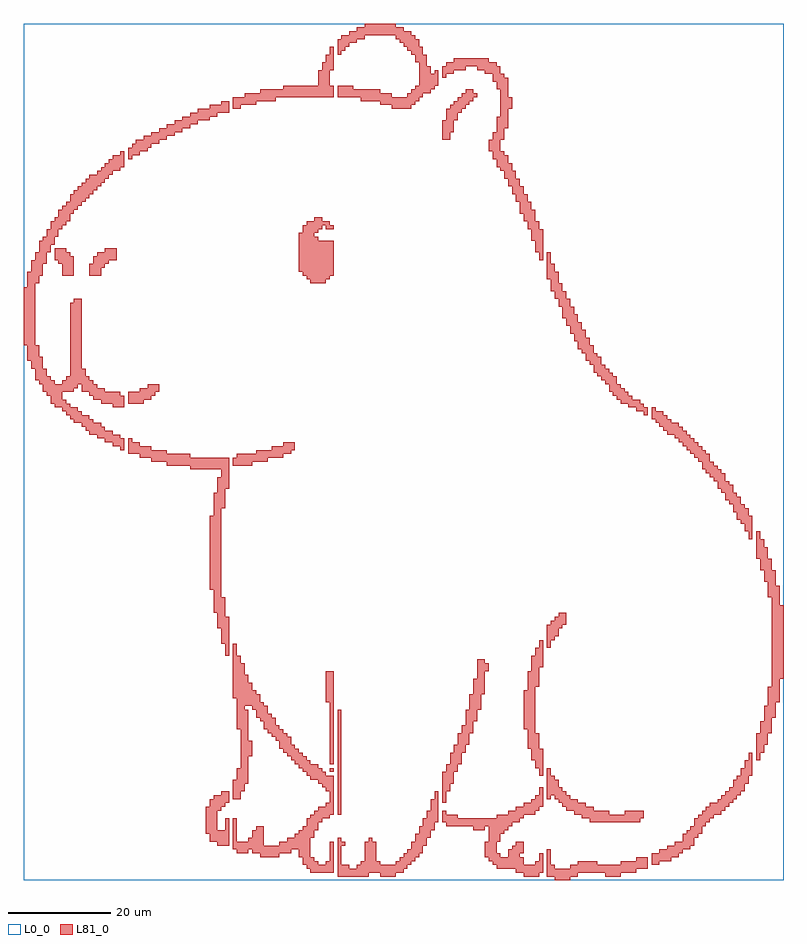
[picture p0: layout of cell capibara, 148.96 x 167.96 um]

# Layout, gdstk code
import gdstk
lib = gdstk.Library(unit=1e-6, precision=1e-09)
def R(c, l, rs):  # rectangles x0, y0, x1, y1
    for r in rs: c.add(gdstk.rectangle(r[:2], r[2:], *l))
def P(c, l, *ps):  # polygons
    for p in ps: c.add(gdstk.Polygon(p, *l))
L0_0 = (0, 0)
L81_0 = (81, 0)

capibara = lib.new_cell('capibara')
R(capibara, L0_0, [(0,0,148.96,167.96)])
R(capibara, L81_0, [(61.56,12.92,62.32,33.44), (60.04,21.28,60.8,22.04)])
P(capibara, L81_0, [(104.12,0),(104.12,0.76),(102.6,0.76),(102.6,6.08),(103.36,6.08),(103.36,3.04),(104.12,3.04),(104.12,2.28),(107.16,2.28),(107.16,3.04),(108.68,3.04),(108.68,3.8),(112.48,3.8),(112.48,3.04),(117.04,3.04),(117.04,3.8),(120.08,3.8),(120.08,4.56),(122.36,4.56),(122.36,2.28),(120.08,2.28),(120.08,1.52),(117.04,1.52),(117.04,0.76),(114,0.76),(114,1.52),(108.68,1.52),(108.68,0.76),(107.16,0.76),(107.16,0)],
  [(38,6.84),(38,7.6),(36.48,7.6),(36.48,9.12),(35.72,9.12),(35.72,14.44),(36.48,14.44),(36.48,15.96),(37.24,15.96),(37.24,16.72),(38.76,16.72),(38.76,17.48),(40.28,17.48),(40.28,15.2),(39.52,15.2),(39.52,14.44),(38.76,14.44),(38.76,13.68),(38,13.68),(38,9.88),(39.52,9.88),(39.52,12.16),(40.28,12.16),(40.28,6.84)],
  [(61.56,0.76),(61.56,8.36),(62.32,8.36),(62.32,7.6),(63.08,7.6),(63.08,6.84),(62.32,6.84),(62.32,3.04),(63.84,3.04),(63.84,2.28),(65.36,2.28),(65.36,3.04),(66.12,3.04),(66.12,3.8),(66.88,3.8),(66.88,7.6),(67.64,7.6),(67.64,8.36),(68.4,8.36),(68.4,7.6),(69.16,7.6),(69.16,3.8),(69.92,3.8),(69.92,3.04),(72.96,3.04),(72.96,3.8),(73.72,3.8),(73.72,4.56),(74.48,4.56),(74.48,5.32),(75.24,5.32),(75.24,6.08),(76,6.08),(76,7.6),(76.76,7.6),(76.76,9.12),(77.52,9.12),(77.52,10.64),(78.28,10.64),(78.28,12.16),(79.04,12.16),(79.04,13.68),(79.8,13.68),(79.8,15.96),(80.56,15.96),(80.56,17.48),(81.32,17.48),(81.32,11.4),(80.56,11.4),(80.56,9.88),(79.8,9.88),(79.8,8.36),(79.04,8.36),(79.04,6.84),(78.28,6.84),(78.28,5.32),(77.52,5.32),(77.52,4.56),(76.76,4.56),(76.76,3.8),(76,3.8),(76,3.04),(75.24,3.04),(75.24,2.28),(74.48,2.28),(74.48,1.52),(72.96,1.52),(72.96,0.76),(69.92,0.76),(69.92,1.52),(67.64,1.52),(67.64,0.76)],
  [(98.04,0.76),(98.04,1.52),(96.52,1.52),(96.52,2.28),(92.72,2.28),(92.72,3.04),(91.96,3.04),(91.96,3.8),(91.2,3.8),(91.2,4.56),(90.44,4.56),(90.44,7.6),(91.2,7.6),(91.2,10.64),(90.44,10.64),(90.44,9.88),(88.16,9.88),(88.16,10.64),(82.84,10.64),(82.84,11.4),(82.08,11.4),(82.08,13.68),(82.84,13.68),(82.84,12.92),(85.12,12.92),(85.12,12.16),(92.72,12.16),(92.72,12.92),(95,12.92),(95,13.68),(96.52,13.68),(96.52,14.44),(98.04,14.44),(98.04,15.2),(99.56,15.2),(99.56,15.96),(100.32,15.96),(100.32,16.72),(101.08,16.72),(101.08,18.24),(101.84,18.24),(101.84,14.44),(101.08,14.44),(101.08,13.68),(100.32,13.68),(100.32,12.92),(98.04,12.92),(98.04,12.16),(97.28,12.16),(97.28,11.4),(95.76,11.4),(95.76,10.64),(95,10.64),(95,9.88),(94.24,9.88),(94.24,9.12),(93.48,9.12),(93.48,7.6),(92.72,7.6),(92.72,5.32),(93.48,5.32),(93.48,4.56),(95,4.56),(95,6.08),(95.76,6.08),(95.76,6.84),(96.52,6.84),(96.52,7.6),(98.04,7.6),(98.04,5.32),(97.28,5.32),(97.28,4.56),(98.04,4.56),(98.04,3.04),(100.32,3.04),(100.32,3.8),(101.08,3.8),(101.08,5.32),(101.84,5.32),(101.84,1.52),(101.08,1.52),(101.08,0.76)],
  [(110.96,11.4),(110.96,12.16),(109.44,12.16),(109.44,12.92),(107.92,12.92),(107.92,13.68),(106.4,13.68),(106.4,14.44),(105.64,14.44),(105.64,15.2),(104.88,15.2),(104.88,15.96),(104.12,15.96),(104.12,16.72),(103.36,16.72),(103.36,15.96),(102.6,15.96),(102.6,22.04),(103.36,22.04),(103.36,20.52),(104.12,20.52),(104.12,19.76),(104.88,19.76),(104.88,18.24),(105.64,18.24),(105.64,17.48),(106.4,17.48),(106.4,16.72),(107.16,16.72),(107.16,15.96),(108.68,15.96),(108.68,15.2),(110.2,15.2),(110.2,14.44),(111.72,14.44),(111.72,13.68),(114.76,13.68),(114.76,12.92),(117.8,12.92),(117.8,13.68),(121.6,13.68),(121.6,12.16),(120.84,12.16),(120.84,11.4)],
  [(123.12,3.04),(123.12,5.32),(124.64,5.32),(124.64,6.08),(126.16,6.08),(126.16,6.84),(127.68,6.84),(127.68,7.6),(129.2,7.6),(129.2,9.12),(129.96,9.12),(129.96,9.88),(130.72,9.88),(130.72,10.64),(131.48,10.64),(131.48,12.16),(132.24,12.16),(132.24,12.92),(133,12.92),(133,13.68),(133.76,13.68),(133.76,14.44),(134.52,14.44),(134.52,15.2),(136.04,15.2),(136.04,15.96),(136.8,15.96),(136.8,16.72),(137.56,16.72),(137.56,17.48),(138.32,17.48),(138.32,18.24),(139.08,18.24),(139.08,19.76),(139.84,19.76),(139.84,20.52),(140.6,20.52),(140.6,22.04),(141.36,22.04),(141.36,23.56),(142.12,23.56),(142.12,25.08),(142.88,25.08),(142.88,20.52),(142.12,20.52),(142.12,19),(141.36,19),(141.36,17.48),(140.6,17.48),(140.6,16.72),(139.84,16.72),(139.84,15.96),(139.08,15.96),(139.08,15.2),(138.32,15.2),(138.32,14.44),(137.56,14.44),(137.56,13.68),(136.8,13.68),(136.8,12.92),(135.28,12.92),(135.28,12.16),(134.52,12.16),(134.52,11.4),(133.76,11.4),(133.76,10.64),(133,10.64),(133,9.12),(132.24,9.12),(132.24,8.36),(131.48,8.36),(131.48,6.84),(130.72,6.84),(130.72,6.08),(129.2,6.08),(129.2,5.32),(128.44,5.32),(128.44,4.56),(126.92,4.56),(126.92,3.8),(124.64,3.8),(124.64,3.04)],
  [(60.04,22.8),(60.04,34.96),(59.28,34.96),(59.28,41.04),(60.8,41.04),(60.8,22.8)],
  [(82.08,15.2),(82.08,21.28),(82.84,21.28),(82.84,22.8),(83.6,22.8),(83.6,25.08),(84.36,25.08),(84.36,26.6),(85.12,26.6),(85.12,28.88),(85.88,28.88),(85.88,30.4),(86.64,30.4),(86.64,33.44),(87.4,33.44),(87.4,36.48),(88.16,36.48),(88.16,39.52),(88.92,39.52),(88.92,43.32),(90.44,43.32),(90.44,42.56),(91.2,42.56),(91.2,41.04),(90.44,41.04),(90.44,36.48),(89.68,36.48),(89.68,33.44),(88.92,33.44),(88.92,31.16),(88.16,31.16),(88.16,28.88),(87.4,28.88),(87.4,26.6),(86.64,26.6),(86.64,25.08),(85.88,25.08),(85.88,22.8),(85.12,22.8),(85.12,21.28),(84.36,21.28),(84.36,19),(83.6,19),(83.6,17.48),(82.84,17.48),(82.84,15.2)],
  [(56.24,1.52),(56.24,2.28),(55.48,2.28),(55.48,3.04),(54.72,3.04),(54.72,4.56),(53.96,4.56),(53.96,6.08),(52.44,6.08),(52.44,5.32),(50.16,5.32),(50.16,4.56),(46.36,4.56),(46.36,5.32),(44.84,5.32),(44.84,6.08),(44.08,6.08),(44.08,5.32),(41.8,5.32),(41.8,6.08),(41.04,6.08),(41.04,12.16),(41.8,12.16),(41.8,7.6),(44.08,7.6),(44.08,8.36),(44.84,8.36),(44.84,9.88),(45.6,9.88),(45.6,10.64),(47.12,10.64),(47.12,6.84),(50.16,6.84),(50.16,7.6),(51.68,7.6),(51.68,8.36),(53.2,8.36),(53.2,9.12),(53.96,9.12),(53.96,9.88),(54.72,9.88),(54.72,10.64),(55.48,10.64),(55.48,12.16),(56.24,12.16),(56.24,12.92),(57,12.92),(57,13.68),(57.76,13.68),(57.76,14.44),(59.28,14.44),(59.28,15.2),(60.04,15.2),(60.04,17.48),(59.28,17.48),(59.28,18.24),(58.52,18.24),(58.52,19),(57.76,19),(57.76,19.76),(56.24,19.76),(56.24,20.52),(55.48,20.52),(55.48,21.28),(54.72,21.28),(54.72,22.04),(53.96,22.04),(53.96,22.8),(53.2,22.8),(53.2,23.56),(52.44,23.56),(52.44,24.32),(51.68,24.32),(51.68,25.08),(50.92,25.08),(50.92,25.84),(50.16,25.84),(50.16,27.36),(49.4,27.36),(49.4,28.12),(48.64,28.12),(48.64,28.88),(47.88,28.88),(47.88,29.64),(47.12,29.64),(47.12,31.16),(46.36,31.16),(46.36,31.92),(45.6,31.92),(45.6,33.44),(44.84,33.44),(44.84,34.2),(43.32,34.2),(43.32,33.44),(44.08,33.44),(44.08,27.36),(44.84,27.36),(44.84,24.32),(44.08,24.32),(44.08,19),(43.32,19),(43.32,17.48),(42.56,17.48),(42.56,15.96),(41.04,15.96),(41.04,19.76),(41.8,19.76),(41.8,22.04),(42.56,22.04),(42.56,29.64),(41.8,29.64),(41.8,35.72),(41.04,35.72),(41.04,46.36),(41.8,46.36),(41.8,44.08),(42.56,44.08),(42.56,42.56),(43.32,42.56),(43.32,40.28),(44.08,40.28),(44.08,38.76),(44.84,38.76),(44.84,37.24),(45.6,37.24),(45.6,36.48),(46.36,36.48),(46.36,34.96),(47.12,34.96),(47.12,34.2),(47.88,34.2),(47.88,32.68),(48.64,32.68),(48.64,31.92),(49.4,31.92),(49.4,30.4),(50.16,30.4),(50.16,29.64),(50.92,29.64),(50.92,28.88),(51.68,28.88),(51.68,28.12),(52.44,28.12),(52.44,26.6),(53.2,26.6),(53.2,25.84),(53.96,25.84),(53.96,25.08),(54.72,25.08),(54.72,24.32),(55.48,24.32),(55.48,23.56),(56.24,23.56),(56.24,22.8),(57.76,22.8),(57.76,22.04),(58.52,22.04),(58.52,21.28),(59.28,21.28),(59.28,20.52),(60.8,20.52),(60.8,12.92),(60.04,12.92),(60.04,12.16),(58.52,12.16),(58.52,11.4),(57.76,11.4),(57.76,9.88),(57,9.88),(57,8.36),(56.24,8.36),(56.24,4.56),(57,4.56),(57,3.8),(57.76,3.8),(57.76,3.04),(59.28,3.04),(59.28,3.8),(60.04,3.8),(60.04,7.6),(60.8,7.6),(60.8,1.52)],
  [(101.08,20.52),(101.08,22.04),(100.32,22.04),(100.32,23.56),(99.56,23.56),(99.56,25.84),(98.8,25.84),(98.8,29.64),(98.04,29.64),(98.04,37.24),(98.8,37.24),(98.8,41.04),(99.56,41.04),(99.56,44.08),(100.32,44.08),(100.32,45.6),(101.08,45.6),(101.08,47.12),(101.84,47.12),(101.84,41.8),(101.08,41.8),(101.08,38),(100.32,38),(100.32,28.88),(101.08,28.88),(101.08,25.84),(101.84,25.84),(101.84,20.52)],
  [(102.6,45.6),(102.6,50.16),(103.36,50.16),(103.36,50.92),(104.12,50.92),(104.12,51.68),(104.88,51.68),(104.88,52.44),(106.4,52.44),(106.4,50.16),(105.64,50.16),(105.64,49.4),(104.88,49.4),(104.88,47.88),(104.12,47.88),(104.12,47.12),(103.36,47.12),(103.36,45.6)],
  [(143.64,23.56),(143.64,28.88),(144.4,28.88),(144.4,31.16),(145.16,31.16),(145.16,34.2),(145.92,34.2),(145.92,38),(146.68,38),(146.68,55.48),(145.92,55.48),(145.92,58.52),(145.16,58.52),(145.16,60.8),(144.4,60.8),(144.4,63.08),(143.64,63.08),(143.64,68.4),(144.4,68.4),(144.4,66.88),(145.16,66.88),(145.16,65.36),(145.92,65.36),(145.92,63.08),(146.68,63.08),(146.68,60.8),(147.44,60.8),(147.44,57.76),(148.2,57.76),(148.2,53.96),(148.96,53.96),(148.96,39.52),(148.2,39.52),(148.2,34.96),(147.44,34.96),(147.44,31.92),(146.68,31.92),(146.68,28.88),(145.92,28.88),(145.92,26.6),(145.16,26.6),(145.16,25.08),(144.4,25.08),(144.4,23.56)],
  [(41.04,81.32),(41.04,82.84),(41.8,82.84),(41.8,83.6),(45.6,83.6),(45.6,84.36),(48.64,84.36),(48.64,85.12),(50.92,85.12),(50.92,85.88),(53.2,85.88),(53.2,84.36),(52.44,84.36),(52.44,83.6),(50.92,83.6),(50.92,82.84),(47.88,82.84),(47.88,82.08),(44.84,82.08),(44.84,81.32)],
  [(39.52,44.08),(39.52,46.36),(38.76,46.36),(38.76,49.4),(38,49.4),(38,52.44),(37.24,52.44),(37.24,57),(36.48,57),(36.48,71.44),(37.24,71.44),(37.24,76),(38,76),(38,79.04),(38.76,79.04),(38.76,80.56),(32.68,80.56),(32.68,81.32),(28.12,81.32),(28.12,82.08),(25.08,82.08),(25.08,82.84),(22.8,82.84),(22.8,83.6),(20.52,83.6),(20.52,86.64),(21.28,86.64),(21.28,85.88),(22.8,85.88),(22.8,85.12),(25.08,85.12),(25.08,84.36),(28.12,84.36),(28.12,83.6),(32.68,83.6),(32.68,82.84),(40.28,82.84),(40.28,76.76),(39.52,76.76),(39.52,72.96),(38.76,72.96),(38.76,55.48),(39.52,55.48),(39.52,51.68),(40.28,51.68),(40.28,44.08)],
  [(142.12,66.88),(142.12,68.4),(141.36,68.4),(141.36,69.92),(140.6,69.92),(140.6,70.68),(139.84,70.68),(139.84,72.2),(139.08,72.2),(139.08,73.72),(138.32,73.72),(138.32,74.48),(137.56,74.48),(137.56,76),(136.8,76),(136.8,76.76),(136.04,76.76),(136.04,78.28),(135.28,78.28),(135.28,79.04),(134.52,79.04),(134.52,79.8),(133.76,79.8),(133.76,80.56),(133,80.56),(133,82.08),(132.24,82.08),(132.24,82.84),(131.48,82.84),(131.48,83.6),(130.72,83.6),(130.72,84.36),(129.96,84.36),(129.96,85.12),(129.2,85.12),(129.2,85.88),(128.44,85.88),(128.44,86.64),(127.68,86.64),(127.68,87.4),(126.16,87.4),(126.16,88.16),(125.4,88.16),(125.4,88.92),(124.64,88.92),(124.64,89.68),(123.88,89.68),(123.88,90.44),(123.12,90.44),(123.12,92.72),(123.88,92.72),(123.88,91.96),(125.4,91.96),(125.4,91.2),(126.16,91.2),(126.16,90.44),(126.92,90.44),(126.92,89.68),(128.44,89.68),(128.44,88.92),(129.2,88.92),(129.2,88.16),(129.96,88.16),(129.96,87.4),(130.72,87.4),(130.72,86.64),(131.48,86.64),(131.48,85.88),(132.24,85.88),(132.24,85.12),(133,85.12),(133,84.36),(133.76,84.36),(133.76,83.6),(134.52,83.6),(134.52,82.08),(135.28,82.08),(135.28,81.32),(136.04,81.32),(136.04,80.56),(136.8,80.56),(136.8,79.8),(137.56,79.8),(137.56,78.28),(138.32,78.28),(138.32,77.52),(139.08,77.52),(139.08,76),(139.84,76),(139.84,75.24),(140.6,75.24),(140.6,73.72),(141.36,73.72),(141.36,72.96),(142.12,72.96),(142.12,71.44),(142.88,71.44),(142.88,66.88)],
  [(20.52,93.48),(20.52,95.76),(22.8,95.76),(22.8,96.52),(24.32,96.52),(24.32,97.28),(26.6,97.28),(26.6,95.76),(25.84,95.76),(25.84,95),(25.08,95),(25.08,94.24),(23.56,94.24),(23.56,93.48)],
  [(121.6,91.2),(121.6,91.96),(120.08,91.96),(120.08,92.72),(118.56,92.72),(118.56,93.48),(117.04,93.48),(117.04,94.24),(116.28,94.24),(116.28,95),(115.52,95),(115.52,95.76),(114.76,95.76),(114.76,97.28),(114,97.28),(114,98.04),(113.24,98.04),(113.24,98.8),(112.48,98.8),(112.48,99.56),(111.72,99.56),(111.72,101.08),(110.96,101.08),(110.96,101.84),(110.2,101.84),(110.2,103.36),(109.44,103.36),(109.44,104.12),(108.68,104.12),(108.68,105.64),(107.92,105.64),(107.92,107.16),(107.16,107.16),(107.16,108.68),(106.4,108.68),(106.4,110.2),(105.64,110.2),(105.64,112.48),(104.88,112.48),(104.88,114),(104.12,114),(104.12,115.52),(103.36,115.52),(103.36,117.8),(102.6,117.8),(102.6,123.12),(103.36,123.12),(103.36,120.84),(104.12,120.84),(104.12,119.32),(104.88,119.32),(104.88,117.04),(105.64,117.04),(105.64,115.52),(106.4,115.52),(106.4,114),(107.16,114),(107.16,112.48),(107.92,112.48),(107.92,110.96),(108.68,110.96),(108.68,109.44),(109.44,109.44),(109.44,107.92),(110.2,107.92),(110.2,106.4),(110.96,106.4),(110.96,104.88),(111.72,104.88),(111.72,103.36),(112.48,103.36),(112.48,102.6),(113.24,102.6),(113.24,101.08),(114,101.08),(114,100.32),(114.76,100.32),(114.76,99.56),(115.52,99.56),(115.52,98.8),(116.28,98.8),(116.28,97.28),(117.04,97.28),(117.04,96.52),(117.8,96.52),(117.8,95.76),(118.56,95.76),(118.56,95),(119.32,95),(119.32,94.24),(120.84,94.24),(120.84,93.48),(121.6,93.48),(121.6,92.72),(122.36,92.72),(122.36,91.2)],
  [(7.6,118.56),(7.6,120.84),(6.84,120.84),(6.84,121.6),(6.08,121.6),(6.08,123.88),(8.36,123.88),(8.36,123.12),(9.12,123.12),(9.12,122.36),(9.88,122.36),(9.88,118.56)],
  [(12.92,118.56),(12.92,120.84),(13.68,120.84),(13.68,122.36),(14.44,122.36),(14.44,123.12),(15.96,123.12),(15.96,123.88),(18.24,123.88),(18.24,121.6),(16.72,121.6),(16.72,120.84),(15.96,120.84),(15.96,120.08),(15.2,120.08),(15.2,118.56)],
  [(56.24,117.04),(56.24,117.8),(55.48,117.8),(55.48,118.56),(54.72,118.56),(54.72,119.32),(53.96,119.32),(53.96,126.92),(54.72,126.92),(54.72,128.44),(55.48,128.44),(55.48,129.2),(57,129.2),(57,129.96),(58.52,129.96),(58.52,129.2),(60.04,129.2),(60.04,128.44),(60.8,128.44),(60.8,127.68),(59.28,127.68),(59.28,128.44),(58.52,128.44),(58.52,127.68),(57.76,127.68),(57.76,126.92),(57,126.92),(57,126.16),(57.76,126.16),(57.76,125.4),(60.8,125.4),(60.8,118.56),(60.04,118.56),(60.04,117.8),(59.28,117.8),(59.28,117.04)],
  [(19,84.36),(19,85.12),(17.48,85.12),(17.48,85.88),(15.96,85.88),(15.96,86.64),(14.44,86.64),(14.44,87.4),(12.92,87.4),(12.92,88.16),(12.16,88.16),(12.16,88.92),(11.4,88.92),(11.4,89.68),(9.88,89.68),(9.88,90.44),(9.12,90.44),(9.12,91.2),(8.36,91.2),(8.36,91.96),(7.6,91.96),(7.6,92.72),(6.08,92.72),(6.08,93.48),(5.32,93.48),(5.32,95),(4.56,95),(4.56,95.76),(3.8,95.76),(3.8,97.28),(3.04,97.28),(3.04,98.04),(2.28,98.04),(2.28,100.32),(1.52,100.32),(1.52,101.84),(0.76,101.84),(0.76,104.88),(0,104.88),(0,116.28),(0.76,116.28),(0.76,119.32),(1.52,119.32),(1.52,121.6),(2.28,121.6),(2.28,123.12),(3.04,123.12),(3.04,125.4),(3.8,125.4),(3.8,126.16),(4.56,126.16),(4.56,127.68),(5.32,127.68),(5.32,129.2),(6.08,129.2),(6.08,129.96),(6.84,129.96),(6.84,131.48),(7.6,131.48),(7.6,132.24),(8.36,132.24),(8.36,133),(9.12,133),(9.12,134.52),(9.88,134.52),(9.88,135.28),(10.64,135.28),(10.64,136.04),(11.4,136.04),(11.4,136.8),(12.16,136.8),(12.16,137.56),(12.92,137.56),(12.92,138.32),(14.44,138.32),(14.44,139.08),(15.2,139.08),(15.2,139.84),(15.96,139.84),(15.96,140.6),(16.72,140.6),(16.72,141.36),(17.48,141.36),(17.48,142.12),(19,142.12),(19,142.88),(19.76,142.88),(19.76,139.84),(19,139.84),(19,139.08),(17.48,139.08),(17.48,138.32),(16.72,138.32),(16.72,137.56),(15.96,137.56),(15.96,136.8),(15.2,136.8),(15.2,136.04),(14.44,136.04),(14.44,135.28),(13.68,135.28),(13.68,134.52),(12.92,134.52),(12.92,133.76),(12.16,133.76),(12.16,133),(11.4,133),(11.4,132.24),(10.64,132.24),(10.64,131.48),(9.88,131.48),(9.88,130.72),(9.12,130.72),(9.12,129.2),(8.36,129.2),(8.36,128.44),(7.6,128.44),(7.6,127.68),(6.84,127.68),(6.84,126.16),(6.08,126.16),(6.08,124.64),(5.32,124.64),(5.32,123.12),(4.56,123.12),(4.56,120.84),(3.8,120.84),(3.8,118.56),(3.04,118.56),(3.04,117.04),(2.28,117.04),(2.28,104.88),(3.04,104.88),(3.04,102.6),(3.8,102.6),(3.8,100.32),(4.56,100.32),(4.56,98.8),(5.32,98.8),(5.32,98.04),(6.08,98.04),(6.08,97.28),(7.6,97.28),(7.6,98.04),(8.36,98.04),(8.36,98.8),(9.12,98.8),(9.12,113.24),(9.88,113.24),(9.88,114),(11.4,114),(11.4,100.32),(12.16,100.32),(12.16,98.8),(12.92,98.8),(12.92,98.04),(13.68,98.04),(13.68,97.28),(14.44,97.28),(14.44,96.52),(15.96,96.52),(15.96,95.76),(19,95.76),(19,95),(19.76,95),(19.76,92.72),(17.48,92.72),(17.48,93.48),(15.2,93.48),(15.2,94.24),(13.68,94.24),(13.68,95),(12.92,95),(12.92,95.76),(11.4,95.76),(11.4,97.28),(10.64,97.28),(10.64,96.52),(9.88,96.52),(9.88,95.76),(7.6,95.76),(7.6,94.24),(8.36,94.24),(8.36,93.48),(9.12,93.48),(9.12,92.72),(10.64,92.72),(10.64,91.96),(11.4,91.96),(11.4,91.2),(12.92,91.2),(12.92,90.44),(13.68,90.44),(13.68,89.68),(15.2,89.68),(15.2,88.92),(15.96,88.92),(15.96,88.16),(17.48,88.16),(17.48,87.4),(19,87.4),(19,86.64),(19.76,86.64),(19.76,84.36)],
  [(20.52,141.36),(20.52,143.64),(21.28,143.64),(21.28,144.4),(22.04,144.4),(22.04,145.16),(23.56,145.16),(23.56,145.92),(25.08,145.92),(25.08,146.68),(26.6,146.68),(26.6,147.44),(28.12,147.44),(28.12,148.2),(29.64,148.2),(29.64,148.96),(31.16,148.96),(31.16,149.72),(32.68,149.72),(32.68,150.48),(34.2,150.48),(34.2,151.24),(36.48,151.24),(36.48,152),(38.76,152),(38.76,152.76),(40.28,152.76),(40.28,150.48),(38,150.48),(38,149.72),(36.48,149.72),(36.48,148.96),(34.2,148.96),(34.2,148.2),(32.68,148.2),(32.68,147.44),(31.16,147.44),(31.16,146.68),(29.64,146.68),(29.64,145.92),(28.12,145.92),(28.12,145.16),(26.6,145.16),(26.6,144.4),(25.08,144.4),(25.08,143.64),(24.32,143.64),(24.32,142.88),(22.8,142.88),(22.8,142.12),(21.28,142.12),(21.28,141.36)],
  [(82.08,145.16),(82.08,148.96),(82.84,148.96),(82.84,151.24),(83.6,151.24),(83.6,152),(84.36,152),(84.36,152.76),(85.12,152.76),(85.12,153.52),(85.88,153.52),(85.88,154.28),(86.64,154.28),(86.64,155.04),(88.16,155.04),(88.16,154.28),(88.92,154.28),(88.92,153.52),(88.16,153.52),(88.16,152.76),(87.4,152.76),(87.4,152),(86.64,152),(86.64,151.24),(85.88,151.24),(85.88,150.48),(85.12,150.48),(85.12,148.96),(84.36,148.96),(84.36,146.68),(83.6,146.68),(83.6,145.16)],
  [(101.08,121.6),(101.08,123.12),(100.32,123.12),(100.32,125.4),(99.56,125.4),(99.56,127.68),(98.8,127.68),(98.8,129.2),(98.04,129.2),(98.04,130.72),(97.28,130.72),(97.28,133),(96.52,133),(96.52,134.52),(95.76,134.52),(95.76,136.04),(95,136.04),(95,137.56),(94.24,137.56),(94.24,139.08),(93.48,139.08),(93.48,139.84),(92.72,139.84),(92.72,141.36),(91.96,141.36),(91.96,142.88),(91.2,142.88),(91.2,145.16),(91.96,145.16),(91.96,146.68),(92.72,146.68),(92.72,149.72),(93.48,149.72),(93.48,155.04),(92.72,155.04),(92.72,156.56),(91.96,156.56),(91.96,158.08),(90.44,158.08),(90.44,158.84),(88.92,158.84),(88.92,159.6),(86.64,159.6),(86.64,158.84),(84.36,158.84),(84.36,158.08),(82.84,158.08),(82.84,157.32),(82.08,157.32),(82.08,159.6),(82.84,159.6),(82.84,160.36),(84.36,160.36),(84.36,161.12),(91.2,161.12),(91.2,160.36),(92.72,160.36),(92.72,159.6),(93.48,159.6),(93.48,158.08),(94.24,158.08),(94.24,157.32),(95,157.32),(95,153.52),(95.76,153.52),(95.76,151.24),(95,151.24),(95,147.44),(94.24,147.44),(94.24,145.16),(93.48,145.16),(93.48,142.88),(94.24,142.88),(94.24,142.12),(95,142.12),(95,140.6),(95.76,140.6),(95.76,139.08),(96.52,139.08),(96.52,137.56),(97.28,137.56),(97.28,136.04),(98.04,136.04),(98.04,134.52),(98.8,134.52),(98.8,133),(99.56,133),(99.56,131.48),(100.32,131.48),(100.32,129.2),(101.08,129.2),(101.08,127.68),(101.84,127.68),(101.84,121.6)],
  [(41.04,151.24),(41.04,153.52),(43.32,153.52),(43.32,154.28),(46.36,154.28),(46.36,155.04),(50.92,155.04),(50.92,155.8),(57.76,155.8),(57.76,158.84),(58.52,158.84),(58.52,160.36),(59.28,160.36),(59.28,161.88),(60.04,161.88),(60.04,163.4),(60.8,163.4),(60.8,158.84),(60.04,158.84),(60.04,155.8),(60.8,155.8),(60.8,153.52),(49.4,153.52),(49.4,152.76),(45.6,152.76),(45.6,152),(42.56,152),(42.56,151.24)],
  [(72.2,151.24),(72.2,152),(69.92,152),(69.92,152.76),(66.12,152.76),(66.12,153.52),(61.56,153.52),(61.56,155.8),(64.6,155.8),(64.6,155.04),(69.92,155.04),(69.92,154.28),(72.2,154.28),(72.2,153.52),(75.24,153.52),(75.24,154.28),(76,154.28),(76,155.04),(76.76,155.04),(76.76,155.8),(77.52,155.8),(77.52,160.36),(76.76,160.36),(76.76,161.88),(76,161.88),(76,162.64),(75.24,162.64),(75.24,163.4),(74.48,163.4),(74.48,164.16),(73.72,164.16),(73.72,164.92),(72.96,164.92),(72.96,165.68),(66.88,165.68),(66.88,164.92),(65.36,164.92),(65.36,164.16),(63.84,164.16),(63.84,163.4),(63.08,163.4),(63.08,162.64),(62.32,162.64),(62.32,161.88),(61.56,161.88),(61.56,164.92),(62.32,164.92),(62.32,165.68),(63.84,165.68),(63.84,166.44),(65.36,166.44),(65.36,167.2),(66.88,167.2),(66.88,167.96),(72.96,167.96),(72.96,167.2),(74.48,167.2),(74.48,166.44),(76,166.44),(76,165.68),(76.76,165.68),(76.76,164.92),(77.52,164.92),(77.52,163.4),(78.28,163.4),(78.28,161.88),(79.04,161.88),(79.04,159.6),(79.8,159.6),(79.8,158.08),(80.56,158.08),(80.56,158.84),(81.32,158.84),(81.32,155.8),(80.56,155.8),(80.56,155.04),(79.8,155.04),(79.8,154.28),(78.28,154.28),(78.28,153.52),(77.52,153.52),(77.52,152.76),(76.76,152.76),(76.76,152),(76,152),(76,151.24)])

lib.write_gds('capibara.gds')
